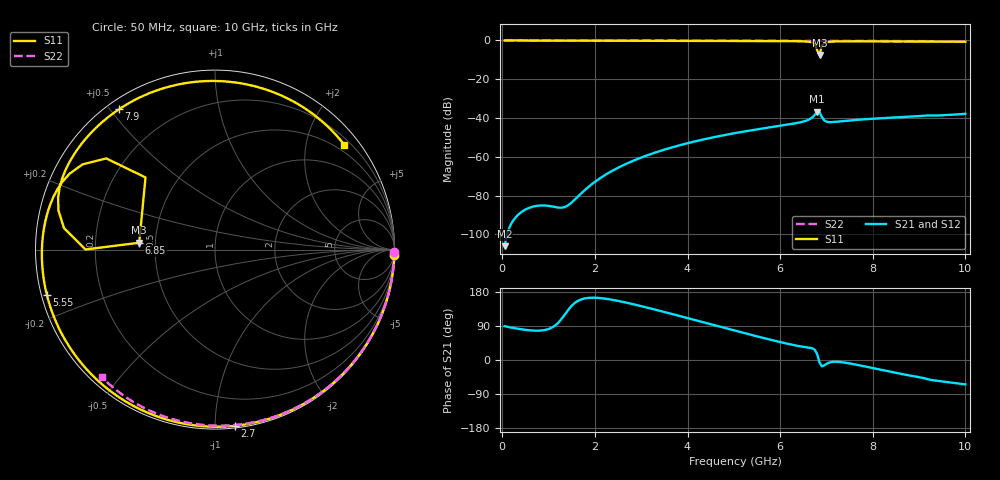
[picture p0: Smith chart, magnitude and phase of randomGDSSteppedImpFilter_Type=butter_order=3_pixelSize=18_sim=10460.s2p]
! freq	dB(S11)	phase(S11)	dB(S12)	phase(S12)
!  dB(S21)	phase(S21)	dB(S22)	phase(S22)
!S-par simulation data
#  GHz  S  DB  R 50
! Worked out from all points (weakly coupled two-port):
!   200 points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, 50 MHz to 10 GHz, reference 50 ohm
!   highest |S21| = -36.72 dB at 6.8 GHz (marker M1); lowest = -106.0 dB at 50 MHz (marker M2)
!   lowest |S11| = -7.5 dB at 6.85 GHz (marker M3), VSWR 2.47, Z = 20.3 + j1.89 ohm
!   |S11| at or under -10 dB: nowhere
!   |S22| runs from -0.4 to 0.0 dB; largest |S21 - S12| = 0
!   S11 on the Smith chart (normalised r, x): 50 MHz: 0, -71; 2.7 GHz: 0.01, -1.12; 5.55 GHz: 0.02, -0.13; 6.85 GHz: 0.41, +0.04; 7.9 GHz: 0.03, +0.53; 10 GHz: 0.33, +2.79
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0.05  -0.00 -1.6  -106.03 89.3  -106.03 89.3  -0.00 -0.8
0.8  -0.03 -25.6  -85.10 77.5  -85.10 77.5  -0.02 -12.1
1.65  -0.07 -52.1  -80.06 157.0  -80.06 157.0  -0.03 -24.7
1.75  -0.07 -55.1  -77.80 161.6  -77.80 161.6  -0.03 -26.2
2.15  -0.08 -67.2  -70.40 163.0  -70.40 163.0  -0.04 -32.1
2.7  -0.11 -83.5  -63.33 150.8  -63.33 150.8  -0.05 -40.0
3.4  -0.13 -103.6  -57.02 129.8  -57.02 129.8  -0.07 -49.9
4.2  -0.17 -126.2  -51.80 104.1  -51.80 104.1  -0.09 -60.9
5.05  -0.22 -150.3  -47.65 76.6  -47.65 76.6  -0.11 -72.2
5.55  -0.26 -164.9  -45.65 60.9  -45.65 60.9  -0.13 -78.7
6.35  -0.39 168.6  -42.61 38.0  -42.61 38.0  -0.16 -88.8
6.7  -1.13 147.3  -39.54 30.5  -39.54 30.5  -0.18 -93.1
6.75  -2.03 140.0  -38.27 26.7  -38.27 26.7  -0.18 -93.7
6.8  -5.07 133.9  -36.72 15.3  -36.72 15.3  -0.18 -94.3
6.85  -7.45 174.8  -36.92 -6.6  -36.92 -6.6  -0.19 -94.9
6.9  -2.84 180.0  -39.43 -16.7  -39.43 -16.7  -0.19 -95.5
7  -0.92 166.0  -41.87 -10.1  -41.87 -10.1  -0.20 -96.7
7.3  -0.48 148.0  -41.70 -5.4  -41.70 -5.4  -0.21 -100.3
7.9  -0.47 124.4  -40.51 -18.8  -40.51 -18.8  -0.25 -107.4
8.35  -0.50 107.1  -39.86 -30.2  -39.86 -30.2  -0.29 -112.7
9.15  -0.57 74.9  -38.71 -49.3  -38.71 -49.3  -0.36 -121.8
10  -0.66 39.0  -37.82 -64.3  -37.82 -64.3  -0.44 -131.4
